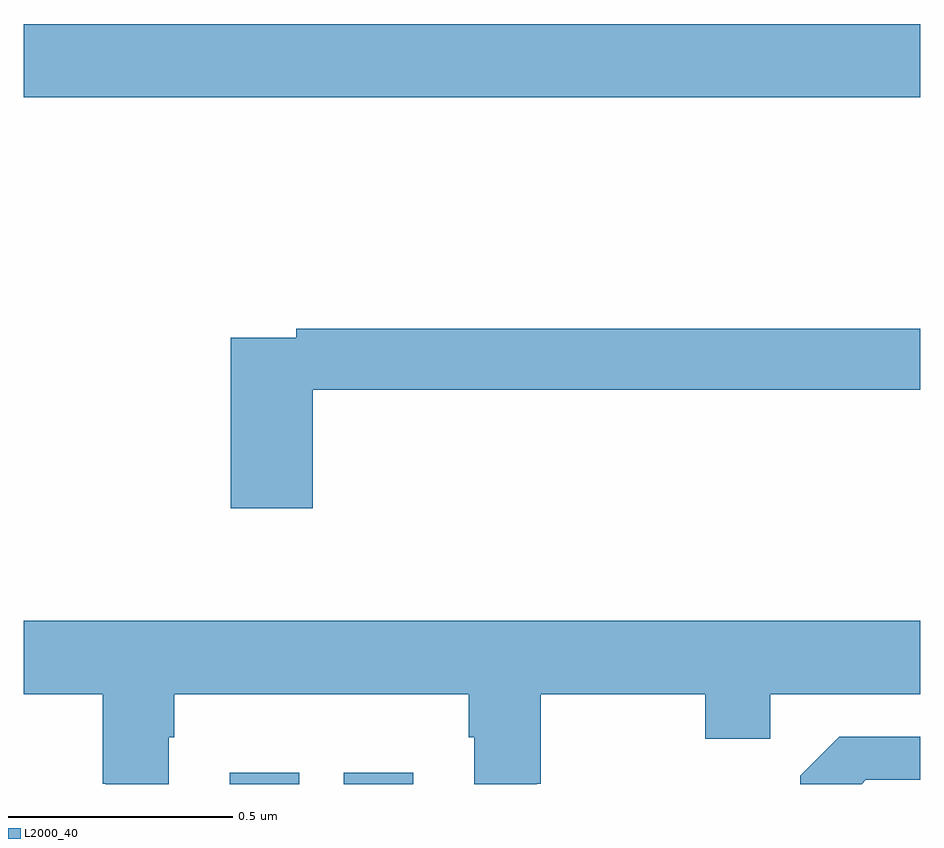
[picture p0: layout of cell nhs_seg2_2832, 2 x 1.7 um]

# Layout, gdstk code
import gdstk
lib = gdstk.Library(unit=1e-6, precision=1e-09)
def R(c, l, rs):  # rectangles x0, y0, x1, y1
    for r in rs: c.add(gdstk.rectangle(r[:2], r[2:], *l))
def P(c, l, *ps):  # polygons
    for p in ps: c.add(gdstk.Polygon(p, *l))
L2000_40 = (2000, 40)

nhs_seg2_2832 = lib.new_cell('nhs_seg2_2832')
R(nhs_seg2_2832, L2000_40, [(146.459,616.8,146.614,616.825), (146.714,616.8,146.869,616.825), (146,618.332,148,618.496)])
P(nhs_seg2_2832, L2000_40, [(146.645,617.68),(148,617.68),(148,617.816),(146.608,617.816),(146.608,617.796),(146.462,617.796),(146.462,617.415),(146.645,617.415)],
  [(146,617),(146.176,617),(146.176,616.801),(146.183,616.801),(146.183,616.8),(146.323,616.8),(146.323,616.904),(146.336,616.904),(146.336,617),(146.993,617),(146.993,616.904),(147.005,616.904),(147.005,616.8),(147.145,616.8),(147.145,616.801),(147.153,616.801),(147.153,617),(147.52,617),(147.52,616.901),(147.666,616.901),(147.666,617),(148,617),(148,617.164),(146,617.164)],
  [(147.879,616.809),(148,616.809),(148,616.905),(147.819,616.905),(147.732,616.818),(147.732,616.8),(147.87,616.8)])

lib.write_gds('nhs_seg2_2832.gds')
